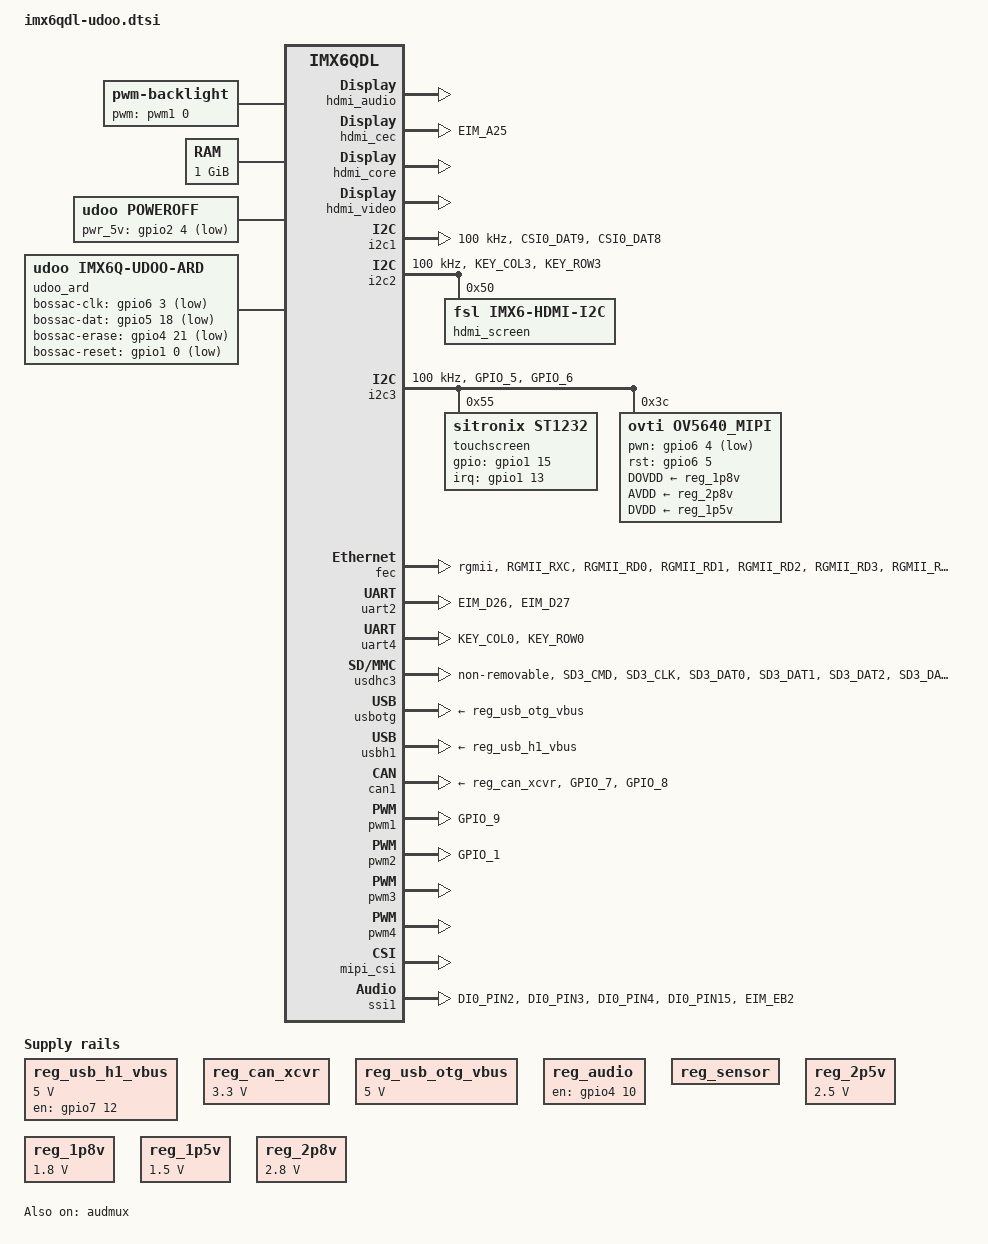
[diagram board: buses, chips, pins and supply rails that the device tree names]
/*
 * Copyright 2013 Freescale Semiconductor, Inc.
 *
 * Author: Fabio Estevam <fabio.estevam@freescale.com>
 *         
 * Copyright (C) 2014 Jasbir
 *
 * This program is free software; you can redistribute it and/or modify
 * it under the terms of the GNU General Public License version 2 as
 * published by the Free Software Foundation.
 *
 */
#include <dt-bindings/gpio/gpio.h>

/ {
	aliases {
		mxcfb0 = &mxcfb1;
		reg_can_xcvr = &reg_can_xcvr;
		mmc0 = &usdhc3;
	};

        backlight {     /* could use pwm1 as backlight */
                compatible = "pwm-backlight";
                pwms = <&pwm1 0 5000000>;
                brightness-levels = <0 4 8 16 32 64 128 255>;
                default-brightness-level = <0>;
        };

	backlight_lcd {// enable, disable lvds
		compatible = "gpio-backlight";
		gpios = <&gpio1 4 GPIO_ACTIVE_HIGH>;
		default-on;
		status = "disabled";
	};

        /*pwmleds {
                compatible = "pwm-leds";
                pinctrl-names = "default";
                pinctrl-0 = <&pinctrl_pwm1>;

                front {
                        active-low;
                        label = "imx6:pwm:pwm1";
                        max-brightness = <255>;
                        pwms = <&pwm1 0 50000>;
                };
        };*/

	memory {
		reg = <0x10000000 0x40000000>;
	};

	regulators {
		compatible = "simple-bus";
		#address-cells = <1>;
		#size-cells = <0>;

		reg_usb_h1_vbus: regulator@0 {
			compatible = "regulator-fixed";
			reg = <0>;
			regulator-name = "usb_h1_vbus";
			regulator-min-microvolt = <5000000>;
			regulator-max-microvolt = <5000000>;
			enable-active-high;
			startup-delay-us = <2>; /* USB2415 requires a POR of 1 us minimum */
			gpio = <&gpio7 12 0>;
		};

		reg_can_xcvr: regulator@1 {
                        compatible = "regulator-fixed";
			reg = <1>;
                        regulator-name = "CAN XCVR";
                        regulator-min-microvolt = <3300000>;
                        regulator-max-microvolt = <3300000>;
			regulator-always-on;
                        enable-active-low;
                };

                reg_usb_otg_vbus: regulator@2 {
                        compatible = "regulator-fixed";
                        reg = <2>;
                        regulator-name = "usb_otg_vbus";
                        regulator-min-microvolt = <5000000>;
                        regulator-max-microvolt = <5000000>;
                        enable-active-high;
                };

                reg_audio: regulator@3 {
                        compatible = "regulator-fixed";
                        reg = <3>;
                        regulator-name = "8962-SUPPLY";
                        gpio = <&gpio4 10 0>;
                        enable-active-high;
                };

                reg_sensor: regulator@4 {
                        compatible = "regulator-fixed";
                        reg = <4>;
                        regulator-name = "sensor-SUPPLY";
                        enable-active-high;
                };

                reg_2p5v: regulator@5 {
                        compatible = "regulator-fixed";
                        reg = <5>;
                        regulator-name = "2P5V";
                        regulator-min-microvolt = <2500000>;
                        regulator-max-microvolt = <2500000>;
                        regulator-always-on;
                };

		reg_lcd0_pwr: regulator@6 {
			compatible = "regulator-fixed";
			reg = <6>;
			regulator-name = "LCD0 POWER";
			regulator-min-microvolt = <3300000>;
			regulator-max-microvolt = <3300000>;
			gpio = <&gpio1 2 0>;
			enable-active-high;
			regulator-boot-on;
			regulator-always-on;
			status = "disabled";
		};
		
		reg_1p8v: regulator@7 {
                        compatible = "regulator-fixed";
                        reg = <8>;
                        regulator-name = "DOVDD";
                        regulator-min-microvolt = <1800000>;
                        regulator-max-microvolt = <1800000>;
                        regulator-always-on;
                };

                reg_1p5v: regulator@8 {
                        compatible = "regulator-fixed";
                        reg = <9>;
                        regulator-name = "1P5V";
                        regulator-min-microvolt = <1500000>;
                        regulator-max-microvolt = <1500000>;
                        regulator-always-on;
                };

                reg_2p8v: regulator@9 {
                        compatible = "regulator-fixed";
                        reg = <10>;
                        regulator-name = "2P8V";
                        regulator-min-microvolt = <2800000>;
                        regulator-max-microvolt = <2800000>;
                };
	};

	mxcfb1: fb@0 {
		compatible = "fsl,mxc_sdc_fb";
		disp_dev = "hdmi";
		interface_pix_fmt = "RGB24";
		mode_str ="1920x1080M@60";
		default_bpp = <32>;
		int_clk = <0>;
		late_init = <0>;
		status = "disabled";
	};

	sound-hdmi {
		compatible = "fsl,imx6q-audio-hdmi",
			     "fsl,imx-audio-hdmi";
		model = "imx-audio-hdmi";
		hdmi-controller = <&hdmi_audio>;
	};

        sound-spdif {
                compatible = "fsl,imx-audio-spdif",
                           "fsl,imx-sabreauto-spdif";
                model = "imx-spdif";
                spdif-controller = <&spdif>;
		spdif-out;
                spdif-in;
                status = "disabled";
        };

	v4l2_cap_0 {
                compatible = "fsl,imx6q-v4l2-capture";
                ipu_id = <0>;
                csi_id = <0>;
                mclk_source = <0>;
                status = "okay";
        };

        v4l2_cap_1 {
                compatible = "fsl,imx6q-v4l2-capture";
                ipu_id = <0>;
                csi_id = <1>;
                mclk_source = <0>;
                status = "okay";
        };


	v4l2_out {
		compatible = "fsl,mxc_v4l2_output";
		status = "okay";
	};
	
	poweroff {
		compatible = "udoo,poweroff";
		pwr_5v_gpio = <&gpio2 4 GPIO_ACTIVE_LOW>;
	};
	
	codec: vt1613 {
		compatible = "via,vt1613";
	};
	
	sound {
		compatible = "fsl,imx6q-udoo-ac97",
                             "fsl,imx-audio-ac97";
                model = "fsl,imx6q-udoo-ac97";
                audio-cpu = <&ssi1>;
                audio-routing =
                        "RX", "Mic Jack",
                        "Headphone Jack", "TX";
                mux-int-port = <1>;
                mux-ext-port = <6>;
	};

	udoo_ard: udoo_ard_manager {
                compatible = "udoo,imx6q-udoo-ard";
                pinctrl-names = "default";
                pinctrl-0 = <&pinctrl_udoo_ard_alt>;
                bossac-clk-gpio   = <&gpio6 3 GPIO_ACTIVE_LOW>;
                bossac-dat-gpio   = <&gpio5 18 GPIO_ACTIVE_LOW>;
                bossac-erase-gpio = <&gpio4 21 GPIO_ACTIVE_LOW>;
                bossac-reset-gpio = <&gpio1 0 GPIO_ACTIVE_LOW>;
                status = "okay";
        };
	
	onewire@0 { /* example for pin 08 */
        	compatible = "w1-gpio";
                pinctrl-names = "default";
                pinctrl-0 = <&w1_gpio_pins>;
                status = "disabled";
                gpios = <&gpio1 21 0>; 
	};
};

&audmux {
        status = "okay";
};

&gpc {
        fsl,cpu_pupscr_sw2iso = <0xf>;
        fsl,cpu_pupscr_sw = <0xf>;
        fsl,cpu_pdnscr_iso2sw = <0x1>;
        fsl,cpu_pdnscr_iso = <0x1>;
};

&hdmi_audio {
	status = "okay";
};

&hdmi_cec {
        pinctrl-names = "default";
        pinctrl-0 = <&pinctrl_hdmi_cec>;
        status = "okay";
};

&hdmi_core {
	ipu_id = <0>;
	disp_id = <0>;
	status = "okay";
};

&hdmi_video {
	fsl,phy_reg_vlev = <0x0294>;
	fsl,phy_reg_cksymtx = <0x800d>;
	status = "okay";
};

&ldb { // LVDS display bridge
	status = "disabled";
	primary;
	lvds-channel@0 {
		reg = <0>;
		fsl,data-mapping = "spwg";
		status = "disabled";
		primary;
		crtc = "ipu1-di0";
	};
};

&i2c1 {
	clock-frequency = <100000>;
        pinctrl-names = "default";
        pinctrl-0 = <&pinctrl_i2c1>;
	status = "okay";
};

&i2c2 {
	clock-frequency = <100000>;
	pinctrl-names = "default";
	pinctrl-0 = <&pinctrl_i2c2>;
	status = "okay";

	hdmi_screen: edid@50 {
		compatible = "fsl,imx6-hdmi-i2c";
		reg = <0x50>;
	};
};

&i2c3 {
	clock-frequency = <100000>;
        pinctrl-names = "default";
        pinctrl-0 = <&pinctrl_i2c3>;
        status = "okay";
	touchscreen: st1232@55 {
		compatible = "sitronix,st1232";
		reg = <0x55>;
		interrupt-parent = <&gpio1>;
		interrupts = <13 IRQ_TYPE_LEVEL_LOW>;
		gpios = <&gpio1 15 0>;
	};

        ov5640_mipi: ov5640_mipi@3c { /* i2c2 driver */
                compatible = "ovti,ov5640_mipi";
                reg = <0x3c>;
                pinctrl-0 = <&pinctrl_ov5640>;
                pinctrl-names = "default";
                clocks = <&clks IMX6QDL_CLK_CKO>;
                clock-names = "csi_mclk";
                DOVDD-supply = <&reg_1p8v>; /* 1.8v */
                AVDD-supply = <&reg_2p8v>;  /* 2.8v, rev C board is VGEN3
                                                rev B board is VGEN5 */
                DVDD-supply = <&reg_1p5v>;  /* 1.5v*/
                pwn-gpios = <&gpio6 4 1>;
                rst-gpios = <&gpio6 5 0>;
                csi_id = <0>;
                mclk = <22000000>;
                mclk_source = <0>;
        };
};

&fec {
	pinctrl-names = "default";
	pinctrl-0 = <&pinctrl_enet>;
	phy-mode = "rgmii";
	phy-poweron = <&gpio2 31 0>;
	phy-reset-gpio = <&gpio3 23 0>;
	phy-clk125-en = <&gpio6 24 1>;
//	phy-mode0 = <&gpio6 29 1>;
//	phy-mode1 = <&gpio6 28 1>;
//	phy-mode2 = <&gpio6 27 1>;
//	phy-mode3 = <&gpio6 25 1>;
	status = "okay";
};

&iomuxc {

	pinctrl-names = "default";
	pinctrl-0 = <&pinctrl_hog>;

	imx6q-udoo {
		pinctrl_hog: hoggrp {
			fsl,pins = <
				MX6QDL_PAD_NANDF_D4__GPIO2_IO04   0x80000000  /* 5v enable      */
				MX6QDL_PAD_NANDF_CS0__GPIO6_IO11  0x80000000  /* Vtt suspend    */
				MX6QDL_PAD_SD2_DAT0__GPIO1_IO15   0x80000000  /* touch reset    */
//				MX6QDL_PAD_SD2_DAT2__GPIO1_IO13         0x1b0b0 //

				MX6QDL_PAD_GPIO_17__GPIO7_IO12    0x80000000  /* usb hub reset  */
				MX6QDL_PAD_NANDF_CS2__CCM_CLKO2   0x130b0     /* clk usb hub    */
				MX6QDL_PAD_EIM_WAIT__GPIO5_IO00   0xb0b1      /* usb otg select */

				MX6QDL_PAD_NANDF_D5__GPIO2_IO05   0x80000000  /* sdcard power   */
				MX6QDL_PAD_SD3_DAT5__GPIO7_IO00   0x80000000  /* sd card detect */
				
				MX6QDL_PAD_DISP0_DAT5__GPIO4_IO26 0x80000000  /* select dbg uart*/
				
				MX6QDL_PAD_GPIO_16__GPIO7_IO11    0xb0b1      /* SAM3X vbus_en  */ 
				MX6QDL_PAD_SD4_DAT7__GPIO2_IO15   0x80000000  /* SAM3X usb host */
				
				MX6QDL_PAD_GPIO_2__GPIO1_IO02     0x70 //0x80000000  /* panel on       */
				MX6QDL_PAD_GPIO_4__GPIO1_IO04     0x70 //0x80000000  /* backlight on   */
				
				MX6QDL_PAD_EIM_A19__GPIO2_IO19    0x80000000  /* writeprotect spi*/
				
				MX6QDL_PAD_GPIO_3__GPIO1_IO03     0x30b1      /* arduino pinout  */
			>;
		};

		/*
		external_hog: hoggrp-2 {
                        fsl,pins = <
                        // External Pinout GPIOs
                        MX6QDL_PAD_CSI0_DAT11__GPIO5_IO29               0x80000000  // pin 00
                        MX6QDL_PAD_CSI0_DAT10__GPIO5_IO28               0x80000000  // pin 01
                        MX6QDL_PAD_SD1_CLK__GPIO1_IO20                  0x80000000  // pin 02
                        MX6QDL_PAD_SD1_DAT0__GPIO1_IO16                 0x80000000  // pin 03
                        MX6QDL_PAD_SD1_DAT1__GPIO1_IO17                 0x80000000  // pin 04
                        MX6QDL_PAD_SD1_CMD__GPIO1_IO18                  0x80000000  // pin 05
                        MX6QDL_PAD_SD4_DAT1__GPIO2_IO09                 0x80000000  // pin 06
                        MX6QDL_PAD_SD4_DAT2__GPIO2_IO10                 0x80000000  // pin 07
                        MX6QDL_PAD_SD1_DAT3__GPIO1_IO21                 0x80000000  // pin 08
                        MX6QDL_PAD_SD1_DAT2__GPIO1_IO19                 0x80000000  // pin 09
                        MX6QDL_PAD_GPIO_1__GPIO1_IO01                   0x80000000  // pin 10
                        MX6QDL_PAD_GPIO_9__GPIO1_IO09                   0x80000000  // pin 11
                        MX6QDL_PAD_GPIO_3__GPIO1_IO03                   0x80000000  // pin 12
                        MX6QDL_PAD_SD4_DAT0__GPIO2_IO08                 0x80000000  // pin 13
                        MX6QDL_PAD_CSI0_DAT4__GPIO5_IO22                0x80000000  // pin 14
                        MX6QDL_PAD_CSI0_DAT16__GPIO6_IO02               0x80000000  // pin 15
                        MX6QDL_PAD_CSI0_DAT14__GPIO6_IO00               0x80000000  // pin 16
                        MX6QDL_PAD_CSI0_DAT15__GPIO6_IO01               0x80000000  // pin 17
                        MX6QDL_PAD_CSI0_DAT12__GPIO5_IO30               0x80000000  // pin 18
                        MX6QDL_PAD_CSI0_DAT13__GPIO5_IO31               0x80000000  // pin 19
                        // pin 20, 21 in pinctrl_i2c1
                        MX6QDL_PAD_DISP0_DAT6__GPIO4_IO27               0x80000000  // pin 22
                        MX6QDL_PAD_DISP0_DAT7__GPIO4_IO28               0x80000000  // pin 23
                        MX6QDL_PAD_DISP0_DAT8__GPIO4_IO29               0x80000000  // pin 24
                        MX6QDL_PAD_DISP0_DAT9__GPIO4_IO30               0x80000000  // pin 25
                        MX6QDL_PAD_DISP0_DAT10__GPIO4_IO31              0x80000000  // pin 26
                        MX6QDL_PAD_DISP0_DAT11__GPIO5_IO05              0x80000000  // pin 27
                        MX6QDL_PAD_DISP0_DAT12__GPIO5_IO06              0x80000000  // pin 28
                        MX6QDL_PAD_DISP0_DAT13__GPIO5_IO07              0x80000000  // pin 29
                        MX6QDL_PAD_DISP0_DAT14__GPIO5_IO08              0x80000000  // pin 30
                        MX6QDL_PAD_DISP0_DAT15__GPIO5_IO09              0x80000000  // pin 31
                        MX6QDL_PAD_DISP0_DAT16__GPIO5_IO10              0x80000000  // pin 32
                        MX6QDL_PAD_DISP0_DAT17__GPIO5_IO11              0x80000000  // pin 33
                        MX6QDL_PAD_DISP0_DAT18__GPIO5_IO12              0x80000000  // pin 34
                        MX6QDL_PAD_DISP0_DAT19__GPIO5_IO13              0x80000000  // pin 35
                        MX6QDL_PAD_DISP0_DAT20__GPIO5_IO14              0x80000000  // pin 36
                        MX6QDL_PAD_DISP0_DAT21__GPIO5_IO15              0x80000000  // pin 37
                        MX6QDL_PAD_EIM_A16__GPIO2_IO22                  0x80000000  // pin 38
                        MX6QDL_PAD_GPIO_18__GPIO7_IO13                  0x80000000  // pin 39 KEY_VOL_UP
                        MX6QDL_PAD_NANDF_D0__GPIO2_IO00                 0x80000000  // pin 40 HOME
                        MX6QDL_PAD_NANDF_D3__GPIO2_IO03                 0x80000000  // pin 41 SEARCH
                        MX6QDL_PAD_NANDF_D2__GPIO2_IO02                 0x80000000  // pin 42 BACK
                        MX6QDL_PAD_NANDF_D1__GPIO2_IO01                 0x80000000  // pin 43 MENU
                        MX6QDL_PAD_GPIO_19__GPIO4_IO05                  0x80000000  // pin 44 KEY_VOL_DOWN
                        MX6QDL_PAD_DISP0_DAT22__GPIO5_IO16              0x80000000  // pin 45
                        MX6QDL_PAD_DISP0_DAT23__GPIO5_IO17              0x80000000  // pin 46
                        MX6QDL_PAD_EIM_D25__GPIO3_IO25                  0x80000000  // pin 47 //SPI
                        MX6QDL_PAD_KEY_ROW1__GPIO4_IO09                 0x80000000  // pin 48
                        MX6QDL_PAD_KEY_COL1__GPIO4_IO08                 0x80000000  // pin 49
                        MX6QDL_PAD_EIM_OE__GPIO2_IO25                   0x80000000  // pin 50
                        MX6QDL_PAD_EIM_CS1__GPIO2_IO24                  0x80000000  // pin 51
                        MX6QDL_PAD_EIM_CS0__GPIO2_IO23                  0x80000000  // pin 52
                        MX6QDL_PAD_EIM_D24__GPIO3_IO24                  0x80000000  // pin 53 //SPI
                        >;
                };*/

		pinctrl_enet: enetgrp {
			fsl,pins = <				
				MX6QDL_PAD_RGMII_RXC__RGMII_RXC		0x1b0b0
				MX6QDL_PAD_RGMII_RD0__RGMII_RD0		0x1b0b0
				MX6QDL_PAD_RGMII_RD1__RGMII_RD1		0x1b0b0
				MX6QDL_PAD_RGMII_RD2__RGMII_RD2		0x1b0b0
				MX6QDL_PAD_RGMII_RD3__RGMII_RD3		0x1b0b0
				MX6QDL_PAD_RGMII_RX_CTL__RGMII_RX_CTL	0x1b0b0
				MX6QDL_PAD_RGMII_TXC__RGMII_TXC		0x1b0b0
				MX6QDL_PAD_RGMII_TD0__RGMII_TD0		0x1b0b0
				MX6QDL_PAD_RGMII_TD1__RGMII_TD1		0x1b0b0
				MX6QDL_PAD_RGMII_TD2__RGMII_TD2		0x1b0b0
				MX6QDL_PAD_RGMII_TD3__RGMII_TD3		0x1b0b0
				MX6QDL_PAD_RGMII_TX_CTL__RGMII_TX_CTL	0x1b0b0
				MX6QDL_PAD_ENET_REF_CLK__ENET_TX_CLK	0x1b0b0
				MX6QDL_PAD_ENET_MDIO__ENET_MDIO		0x1b0b0
				MX6QDL_PAD_ENET_MDC__ENET_MDC		0x1b0b0
				MX6QDL_PAD_EIM_D23__GPIO3_IO23      0x80000000 /* reset */
				MX6QDL_PAD_EIM_EB3__GPIO2_IO31    0x80000000  /* ethernet power */
				//MX6QDL_PAD_GPIO_16__ENET_REF_CLK        0x4001b0a8
			>;
		};
                
                pinctrl_i2c1: i2c1grp {
                        fsl,pins = <
				MX6QDL_PAD_CSI0_DAT9__I2C1_SCL 0x4001b8b1
				MX6QDL_PAD_CSI0_DAT8__I2C1_SDA 0x4001b8b1
                        >;
                };

		pinctrl_i2c2: i2c2grp {
                        fsl,pins = <
                                MX6QDL_PAD_KEY_COL3__I2C2_SCL 0x4001b8b1
                                MX6QDL_PAD_KEY_ROW3__I2C2_SDA 0x4001b8b1
                        >;
                };

                pinctrl_i2c3: i2c3grp {
                        fsl,pins = <
                                MX6QDL_PAD_GPIO_5__I2C3_SCL  0x4001b8b1
                                MX6QDL_PAD_GPIO_6__I2C3_SDA  0x4001b8b1
                        >;
                };
		
		pinctrl_ov5640: ov5640grp {
                        fsl,pins = <
                                MX6QDL_PAD_CSI0_DAT19__GPIO6_IO05 0x80000000  /* camera reset   */
                                MX6QDL_PAD_CSI0_DAT18__GPIO6_IO04 0x80000000  /* camera enable  */
                                MX6QDL_PAD_CSI0_MCLK__CCM_CLKO1	0x130b0
                        >;
                };

		pinctrl_ecspi2: ecspi2grp {
           		fsl,pins = <
               			MX6QDL_PAD_EIM_OE__ECSPI2_MISO      0x100b1
               			MX6QDL_PAD_EIM_CS1__ECSPI2_MOSI     0x100b1
               			MX6QDL_PAD_EIM_CS0__ECSPI2_SCLK     0x100b1
               			MX6QDL_PAD_EIM_D24__GPIO3_IO24  0x000b1 /* CS SS2 */
               			MX6QDL_PAD_EIM_D25__GPIO3_IO25  0x000b1 /* CS SS3 */
           		>;
       		};

                w1_gpio_pins: w1-gpio@0 {
                        fsl,pins = <
                                MX6QDL_PAD_SD1_DAT3__GPIO1_IO21 0x80000000 /* example for pin 08 */
                        >;
                };

		pinctrl_uart2: uart2grp {
			fsl,pins = <
				MX6QDL_PAD_EIM_D26__UART2_TX_DATA	0x1b0b1
				MX6QDL_PAD_EIM_D27__UART2_RX_DATA	0x1b0b1
			>;
		};

		pinctrl_uart4: uart4grp {
			fsl,pins = <				
				MX6QDL_PAD_KEY_COL0__UART4_TX_DATA	0x1b0b1
				MX6QDL_PAD_KEY_ROW0__UART4_RX_DATA	0x1b0b1
			>;
		};

		pinctrl_udoo_ard_alt: udooard2grp {
                        fsl,pins = <
                        MX6QDL_PAD_DISP0_DAT0__GPIO4_IO21       0x80000000
                        MX6QDL_PAD_CSI0_DAT17__GPIO6_IO03       0x80000000
                        MX6QDL_PAD_CSI0_PIXCLK__GPIO5_IO18      0x80000000
                        MX6QDL_PAD_GPIO_0__GPIO1_IO00           0x80000000
                        >;
                };
	
		pinctrl_flexcan1: can1grp {
			fsl,pins = <
				MX6QDL_PAD_GPIO_7__FLEXCAN1_TX 0x1b0b1
				MX6QDL_PAD_GPIO_8__FLEXCAN1_RX 0x1b0b1
			>;
		};
	        
		pinctrl_pwm4: pwm4grp {
	                fls,pins = < 
				MX6QDL_PAD_SD4_DAT2__PWM4_OUT 		0x1b0b1
			>;
                };

                pinctrl_pwm3: pwm3grp {
                        fls,pins = < 
                                MX6QDL_PAD_SD4_DAT1__PWM3_OUT           0x1b0b1
                        >;
                };

		pinctrl_pwm1: pwm1grp {
                        fsl,pins = <
                                MX6QDL_PAD_GPIO_9__PWM1_OUT             0x1b0b1
                        >;
                };

                pinctrl_pwm2: pwm2grp {
                        fsl,pins = <
                                MX6QDL_PAD_GPIO_1__PWM2_OUT             0x1b0b1
                        >;
                };

		pinctrl_usdhc3: usdhc3grp {
			fsl,pins = <
				MX6QDL_PAD_SD3_CMD__SD3_CMD			0x17059
				MX6QDL_PAD_SD3_CLK__SD3_CLK			0x10059
				MX6QDL_PAD_SD3_DAT0__SD3_DATA0		0x17059
				MX6QDL_PAD_SD3_DAT1__SD3_DATA1		0x17059
				MX6QDL_PAD_SD3_DAT2__SD3_DATA2		0x17059
				MX6QDL_PAD_SD3_DAT3__SD3_DATA3		0x17059
			>;
		};

                pinctrl_spdif_1: spdifgrp-1 {
                        fsl,pins = <
				MX6QDL_PAD_GPIO_19__SPDIF_OUT     0x1b0b0
				MX6QDL_PAD_EIM_D21__SPDIF_IN      0x1b0b0
                        >;
                };

                pinctrl_hdmi_cec: hdmicecgrp {
                        fsl,pins = <
                                MX6QDL_PAD_EIM_A25__HDMI_TX_CEC_LINE 0x1f8b0
                        >;
                };

		pinctrl_ac97_running: ac97running {
                        fsl,pins = <
                                MX6QDL_PAD_DI0_PIN2__AUD6_TXD           0x1b0b0
                                MX6QDL_PAD_DI0_PIN3__AUD6_TXFS          0x1b0b0
                                MX6QDL_PAD_DI0_PIN4__AUD6_RXD           0x1b0b0
                                MX6QDL_PAD_DI0_PIN15__AUD6_TXC          0x1b0b0
                                MX6QDL_PAD_EIM_EB2__GPIO2_IO30          0x1b0b0
                        >;
                };

                pinctrl_ac97_warm_reset: ac97warmreset {
                        fsl,pins = <
                                MX6QDL_PAD_DI0_PIN2__AUD6_TXD           0x1b0b0
                                MX6QDL_PAD_DI0_PIN3__GPIO4_IO19         0x1b0b0
                                MX6QDL_PAD_DI0_PIN4__AUD6_RXD           0x1b0b0
                                MX6QDL_PAD_DI0_PIN15__AUD6_TXC          0x1b0b0
                                MX6QDL_PAD_EIM_EB2__GPIO2_IO30          0x1b0b0
                        >;
                };

                pinctrl_ac97_reset: ac97reset {
                        fsl,pins = <
                                MX6QDL_PAD_DI0_PIN2__GPIO4_IO18         0x1b0b0
                                MX6QDL_PAD_DI0_PIN3__GPIO4_IO19         0x1b0b0
                                MX6QDL_PAD_DI0_PIN4__AUD6_RXD           0x1b0b0
                                MX6QDL_PAD_DI0_PIN15__AUD6_TXC          0x1b0b0
                                MX6QDL_PAD_EIM_EB2__GPIO2_IO30          0x1b0b0
                        >;
                };		
	};
};

&uart2 {
	pinctrl-names = "default";
	pinctrl-0 = <&pinctrl_uart2>;
	status = "okay";
};

&uart4 { 
	pinctrl-names = "default";
	pinctrl-0 = <&pinctrl_uart4>;
	status = "okay"; 
};

&usdhc3 {
	pinctrl-names = "default";
	pinctrl-0 = <&pinctrl_usdhc3>;
	non-removable;
	keep-power-in-suspend;
	status = "okay";
};

&usbotg {
        pinctrl-names = "default";
        vbus-supply = <&reg_usb_otg_vbus>;
	status = "okay";
};

&usbh1 {
	vbus-supply = <&reg_usb_h1_vbus>;
	clocks = <&clks 201>;
	clock-names = "phy";
	status = "okay";
};

&mxcfb1 {
	status = "okay";
};

&can1 {
	pinctrl-names = "default";
        pinctrl-0 = <&pinctrl_flexcan1>;
	xceiver-supply = <&reg_can_xcvr>;
	status = "okay";
};

&pwm1 {
        pinctrl-names = "default";
	pinctrl-0 = <&pinctrl_pwm1>;
 	#pwm-cells = <3>;
        status = "okay";
};

&pwm2 {
        pinctrl-names = "default";
	pinctrl-0 = <&pinctrl_pwm2>;
	#pwm-cells = <3>;
        status = "okay";
};

&pwm3 {
        pinctrl-names = "default";
        pinctrl-0 = <&pinctrl_pwm3>;
	#pwm-cells = <3>;	
	status = "okay";
};

&pwm4 {
        pinctrl-names = "default";
        pinctrl-0 = <&pinctrl_pwm4>;
	#pwm-cells = <3>;
	status = "okay";
};

&mipi_csi {
        status = "okay";
        ipu_id = <0>;
        csi_id = <0>;
        v_channel = <0>;
        lanes = <2>;
};

&ssi1 {
        cell-index = <0>;
        fsl,mode = "ac97-slave";
        pinctrl-names = "ac97-running", "ac97-reset", "ac97-warm-reset";
        pinctrl-0 = <&pinctrl_ac97_running>;
        pinctrl-1 = <&pinctrl_ac97_reset>;
        pinctrl-2 = <&pinctrl_ac97_warm_reset>;
        ac97-gpios = <&gpio4 19 0 &gpio4 18 0 &gpio2 30 0>;
        status = "okay";
};

&spdif {
        pinctrl-names = "default";
        pinctrl-0 = <&pinctrl_spdif_1>;
        status = "disabled";
};

&ecspi2 {
   	pinctrl-names = "default";
   	pinctrl-0 = <&pinctrl_ecspi2>;
   	fsl,spi-num-chipselects = <2>;
   	cs-gpios = <
        	&gpio3 24 GPIO_ACTIVE_HIGH
        	&gpio3 25 GPIO_ACTIVE_HIGH
        	>;
   	status = "disabled";
   	
	spidev0: spi@0 {
		compatible = "rohm,dh2228fv";
		reg = <0>;
		spi-max-frequency = <54000000>;
	};

	spidev1: spi@1 {
		compatible = "rohm,dh2228fv";
		reg = <1>;
		spi-max-frequency = <54000000>;
	};
};
